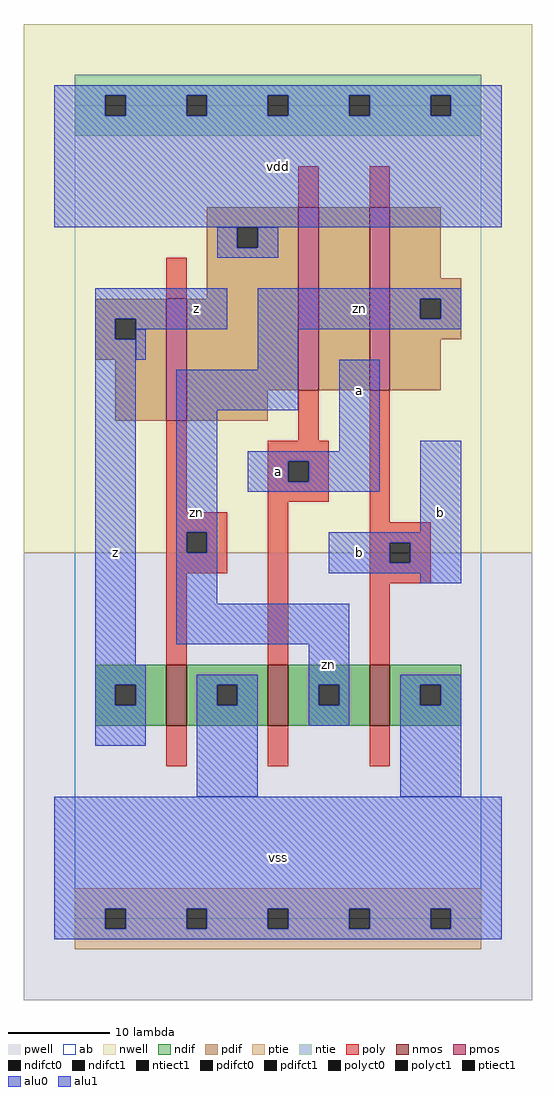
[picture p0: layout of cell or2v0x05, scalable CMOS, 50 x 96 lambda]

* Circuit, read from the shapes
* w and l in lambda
.subckt or2v0x05 a b vdd vss z zn
M1 vss zn z vss nfet w=6 l=2
M2 zn a vss vss nfet w=6 l=2
M3 vss b zn vss nfet w=6 l=2
M4 vdd zn z vdd pfet w=12 l=2
M5 n1 a vdd vdd pfet w=18 l=2
M6 zn b n1 vdd pfet w=18 l=2
.ends

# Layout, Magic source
magic
tech scmos
<< ab >>
rect 0 0 40 80
<< nwell >>
rect -5 36 45 88
<< pwell >>
rect -5 -8 45 36
<< poly >>
rect 22 70 24 74
rect 29 70 31 74
rect 9 61 11 65
rect 9 40 11 49
rect 22 47 24 52
rect 19 45 25 47
rect 19 43 21 45
rect 23 43 25 45
rect 19 41 25 43
rect 9 38 15 40
rect 9 36 11 38
rect 13 36 15 38
rect 9 34 15 36
rect 9 25 11 34
rect 19 25 21 41
rect 29 39 31 52
rect 29 37 35 39
rect 29 35 31 37
rect 33 35 35 37
rect 29 33 35 35
rect 29 25 31 33
rect 9 15 11 19
rect 19 15 21 19
rect 29 15 31 19
<< ndif >>
rect 2 23 9 25
rect 2 21 4 23
rect 6 21 9 23
rect 2 19 9 21
rect 11 23 19 25
rect 11 21 14 23
rect 16 21 19 23
rect 11 19 19 21
rect 21 23 29 25
rect 21 21 24 23
rect 26 21 29 23
rect 21 19 29 21
rect 31 23 38 25
rect 31 21 34 23
rect 36 21 38 23
rect 31 19 38 21
<< pdif >>
rect 13 68 22 70
rect 13 66 16 68
rect 18 66 22 68
rect 13 61 22 66
rect 2 59 9 61
rect 2 57 4 59
rect 6 57 9 59
rect 2 55 9 57
rect 4 49 9 55
rect 11 52 22 61
rect 24 52 29 70
rect 31 63 36 70
rect 31 61 38 63
rect 31 59 34 61
rect 36 59 38 61
rect 31 57 38 59
rect 31 52 36 57
rect 11 49 19 52
<< alu1 >>
rect -2 81 42 82
rect -2 79 3 81
rect 5 79 11 81
rect 13 79 19 81
rect 21 79 27 81
rect 29 79 35 81
rect 37 79 42 81
rect -2 68 42 79
rect 2 59 15 62
rect 2 57 4 59
rect 6 58 15 59
rect 2 25 6 57
rect 26 46 30 55
rect 17 45 30 46
rect 17 43 21 45
rect 23 43 30 45
rect 17 42 30 43
rect 34 38 38 47
rect 25 37 38 38
rect 25 35 31 37
rect 33 35 38 37
rect 25 34 38 35
rect 34 33 38 34
rect 2 23 7 25
rect 2 21 4 23
rect 6 21 7 23
rect 2 17 7 21
rect -2 1 42 12
rect -2 -1 3 1
rect 5 -1 11 1
rect 13 -1 19 1
rect 21 -1 27 1
rect 29 -1 35 1
rect 37 -1 42 1
rect -2 -2 42 -1
<< ptie >>
rect 0 1 40 3
rect 0 -1 3 1
rect 5 -1 11 1
rect 13 -1 19 1
rect 21 -1 27 1
rect 29 -1 35 1
rect 37 -1 40 1
rect 0 -3 40 -1
<< ntie >>
rect 0 81 40 83
rect 0 79 3 81
rect 5 79 11 81
rect 13 79 19 81
rect 21 79 27 81
rect 29 79 35 81
rect 37 79 40 81
rect 0 77 40 79
<< nmos >>
rect 9 19 11 25
rect 19 19 21 25
rect 29 19 31 25
<< pmos >>
rect 9 49 11 61
rect 22 52 24 70
rect 29 52 31 70
<< polyct0 >>
rect 11 36 13 38
<< polyct1 >>
rect 21 43 23 45
rect 31 35 33 37
<< ndifct0 >>
rect 14 21 16 23
rect 24 21 26 23
rect 34 21 36 23
<< ndifct1 >>
rect 4 21 6 23
<< ntiect1 >>
rect 3 79 5 81
rect 11 79 13 81
rect 19 79 21 81
rect 27 79 29 81
rect 35 79 37 81
<< ptiect1 >>
rect 3 -1 5 1
rect 11 -1 13 1
rect 19 -1 21 1
rect 27 -1 29 1
rect 35 -1 37 1
<< pdifct0 >>
rect 16 66 18 68
rect 34 59 36 61
<< pdifct1 >>
rect 4 57 6 59
<< alu0 >>
rect 14 66 16 68
rect 18 66 20 68
rect 14 65 20 66
rect 18 61 38 62
rect 18 59 34 61
rect 36 59 38 61
rect 18 58 38 59
rect 6 55 7 58
rect 18 54 22 58
rect 10 50 22 54
rect 10 38 14 50
rect 10 36 11 38
rect 13 36 14 38
rect 10 31 14 36
rect 10 27 27 31
rect 12 23 18 24
rect 12 21 14 23
rect 16 21 18 23
rect 12 12 18 21
rect 23 23 27 27
rect 23 21 24 23
rect 26 21 27 23
rect 23 19 27 21
rect 32 23 38 24
rect 32 21 34 23
rect 36 21 38 23
rect 32 12 38 21
<< labels >>
rlabel alu0 12 40 12 40 6 zn
rlabel alu0 25 25 25 25 6 zn
rlabel alu0 28 60 28 60 6 zn
rlabel alu1 4 36 4 36 6 z
rlabel alu1 12 60 12 60 6 z
rlabel alu1 20 6 20 6 6 vss
rlabel alu1 28 36 28 36 6 b
rlabel alu1 20 44 20 44 6 a
rlabel alu1 28 52 28 52 6 a
rlabel alu1 20 74 20 74 6 vdd
rlabel alu1 36 40 36 40 6 b
<< end >>
